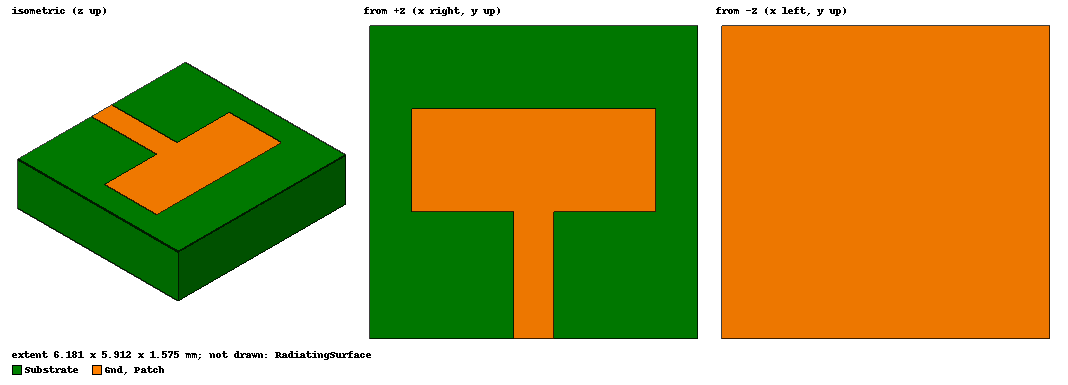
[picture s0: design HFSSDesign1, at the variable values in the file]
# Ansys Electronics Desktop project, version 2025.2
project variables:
  $Wp = 4.6059mm
  $Lp = 1.93mm
  $Lf = 2.40734mm
  $Wf = 0.75mm
  $h = 1.575mm
  $Wg = $Wp+$h
  $Lg = $Lf+$Lp+$h
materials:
  vacuum: permittivity=1
  Rogers RT/duroid 5880 (tm): permittivity=2.2 dielectric_loss_tangent=0.0009

design HFSSDesign1 (HFSS, HFSS Terminal Network, model units mm)
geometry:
  Substrate [Rogers RT/duroid 5880 (tm)] = box(corner=(-$Wg/2, 0mm, 0mm), size=($Wg, $Lg, -$h))
  Feed = rectangle(corner=(-$Wf/2, 0mm, 0mm), x_size=$Wf, y_size=$Lf)
  Patch = rectangle(corner=(-$Wp/2, $Lf, 0mm), x_size=$Wp, y_size=$Lp)
  Patch.unite(Feed)
  Gnd = rectangle(corner=(-$Wg/2, 0mm, -$h), x_size=$Wg, y_size=$Lg)
  Excitation = rectangle(corner=(-$Wf/2, 0mm, 0mm), z_size=-$h, x_size=$Wf)
  RadiatingSurface [vacuum] = region(absolute_offset=3.5714286mm on all sides)
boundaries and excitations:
  PerfE1: Perfect E Objects=Patch
  PerfE2: Perfect E Objects=Gnd
  Open1: Radiation Objects=RadiatingSurface
  1: Lumped Port Objects=Excitation LumpedPortType=Modal Modes{Mode1{IntLine{(0, 0, -1.575) -> (0, 0, 0)} CharImp=Zpi}} Impedance=50ohm
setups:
  Setup1: HfssDriven Frequency=28GHz MaxDeltaS=0.02 MaximumPasses=20 MinimumPasses=1 MinimumConvergedPasses=1 PercentRefinement=30 BasisOrder=1 PortAccuracy=2 DrivenSolverType="Direct Solver"
    sweep Sweep: 26GHz to 30GHz, 201 points; Type=Interpolating InterpTolerance=0.5 InterpMaxSolns=250 PassivityErrorTolerance=0.0001
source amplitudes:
  1:1: 1V 0deg
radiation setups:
  3D: Infinite Sphere Theta=0deg..360deg step 2deg Phi=-180deg..180deg step 2deg
  Elevation: Infinite Sphere Theta=-180deg..180deg step 1deg Phi=0deg..90deg step 90deg
  Azimuth: Infinite Sphere Theta=90deg..90deg step 0deg Phi=-180deg..180deg step 1deg
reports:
  S Parameter Plot1: dB(S(1,1)) vs Freq on Setup1 : Sweep; markers m1 at 28GHz, MY1 at y=-10
  VSWR Plot1: VSWR(1) vs Freq on Setup1 : Sweep; markers m1 at 28GHz
  Z Parameter Plot1: mag(Z(1,1)) vs Freq on Setup1 : Sweep; markers m1 at 28GHz
  Gain Plot1: dB(GainTotal) vs Phi, Theta on Setup1 : LastAdaptive, 3D [Freq=28GHz]
  Gain Plot2: dB(GainTotal) vs Theta on Setup1 : LastAdaptive, 3D [Phi=0deg,90deg Freq=28GHz]
